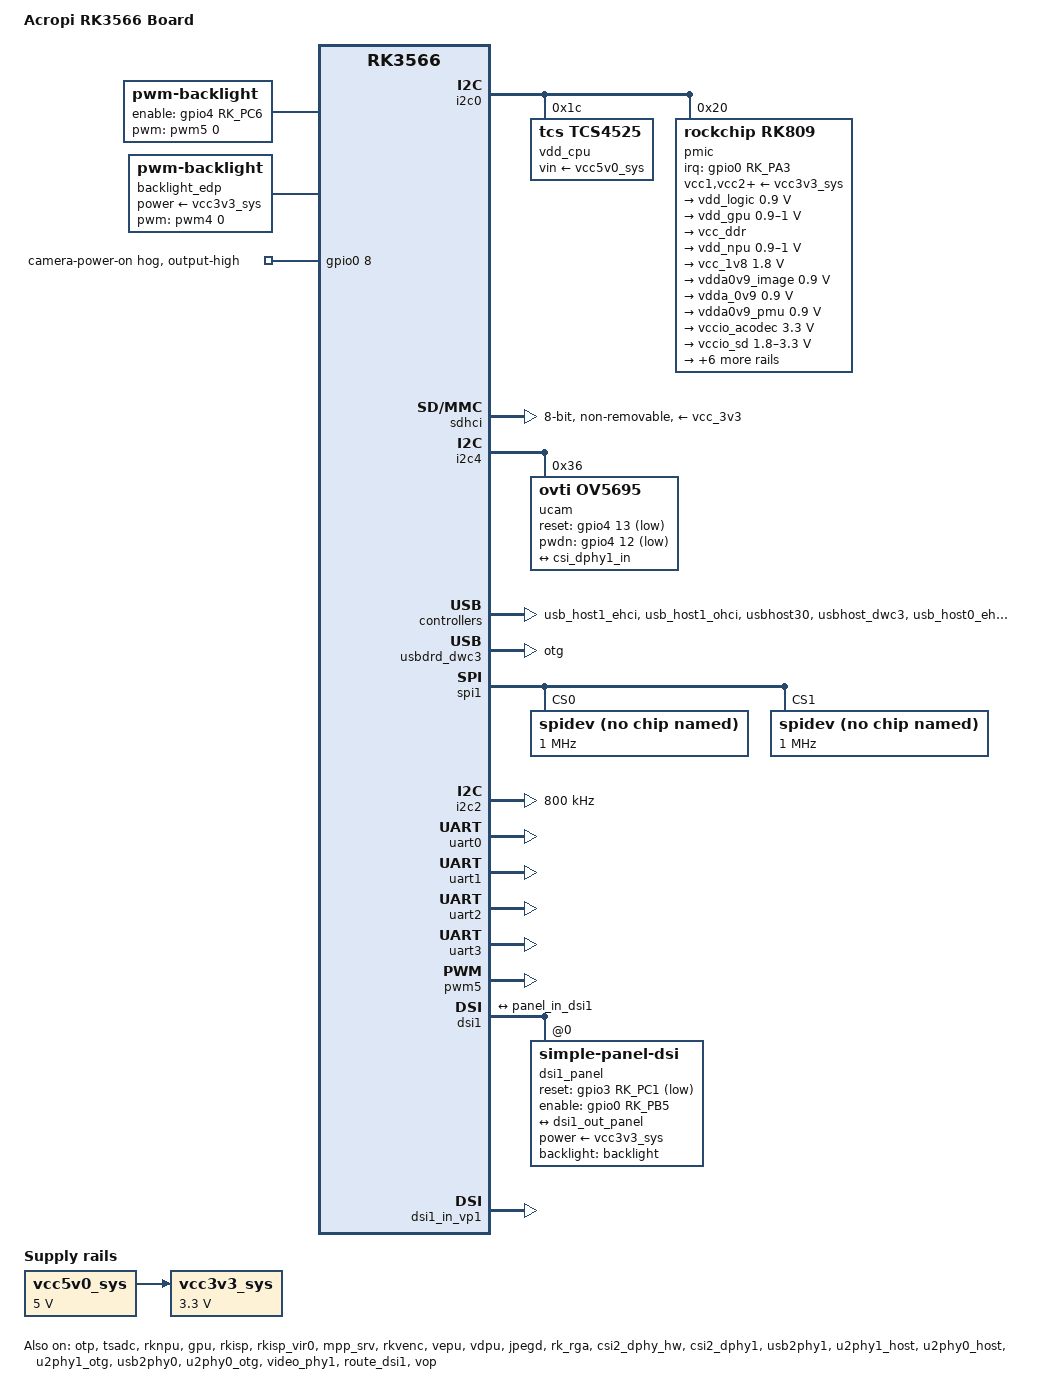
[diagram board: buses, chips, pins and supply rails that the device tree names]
// SPDX-License-Identifier: (GPL-2.0+ OR MIT)
/*
 * Standardized DTS for Acropi RK3566 - Binning Compliant
 */

/dts-v1/;

#include <dt-bindings/interrupt-controller/arm-gic.h>
#include <dt-bindings/clock/rk3568-cru.h>
#include <dt-bindings/power/rk3568-power.h>
#include <dt-bindings/gpio/gpio.h>
#include <dt-bindings/pinctrl/rockchip.h>
#include <dt-bindings/display/drm_mipi_dsi.h>
#include "rk3566.dtsi"


/ {
	model = "Acropi RK3566 Board";
	compatible = "rockchip,rk3566-acropi", "rockchip,rk3566";

	backlight: backlight {
		compatible = "pwm-backlight";
		pwms = <&pwm5 0 25000 0>; // PWM5, 周期 25000ns (40kHz)

		/* 如果电路中有背光 IC 的 Enable 脚，必须配置这行 */
		enable-gpios = <&gpio4 RK_PC6 GPIO_ACTIVE_HIGH>;

		brightness-levels = <
			  0  20  20  21  21  22  22  23
			 23  24  24  25  25  26  26  27
			 27  28  28  29  29  30  30  31
			 31  32  32  33  33  34  34  35
			 35  36  36  37  37  38  38  39
			 40  41  42  43  44  45  46  47
			 48  49  50  51  52  53  54  55
			 56  57  58  59  60  61  62  63
			 64  65  66  67  68  69  70  71
			 72  73  74  75  76  77  78  79
			 80  81  82  83  84  85  86  87
			 88  89  90  91  92  93  94  95
			 96  97  98  99 100 101 102 103
			104 105 106 107 108 109 110 111
			112 113 114 115 116 117 118 119
			120 121 122 123 124 125 126 127
			128 129 130 131 132 133 134 135
			136 137 138 139 140 141 142 143
			144 145 146 147 148 149 150 151
			152 153 154 155 156 157 158 159
			160 161 162 163 164 165 166 167
			168 169 170 171 172 173 174 175
			176 177 178 179 180 181 182 183
			184 185 186 187 188 189 190 191
			192 193 194 195 196 197 198 199
			200 201 202 203 204 205 206 207
			208 209 210 211 212 213 214 215
			216 217 218 219 220 221 222 223
			224 225 226 227 228 229 230 231
			232 233 234 235 236 237 238 239
			240 241 242 243 244 245 246 247
			248 249 250 251 252 253 254 255
		>;
		default-brightness-level = <255>;
		pinctrl-names = "default";
		pinctrl-0 = <&bl_en_gpio>;
	};

	backlight_edp: backlight-edp {
		compatible = "pwm-backlight";
		pwms = <&pwm4 0 25000 0>;
		brightness-levels = <0 4 8 12 16 20 24 28
				     32 36 40 44 48 52 56 60
				     64 68 72 76 80 84 88 92
				     96 100 104 108 112 116 120 124
				     128 132 136 140 144 148 152 156
				     160 164 168 172 176 180 184 188
				     192 196 200 204 208 212 216 220
				     224 228 232 236 240 244 248 252
				     255>;
		default-brightness-level = <50>;
		power-supply = <&vcc3v3_sys>;
	};

	panel_edp: panel-edp {
		status = "disabled";
		compatible = "simple-panel";
		backlight = <&backlight_edp>;
		power-supply = <&vcc3v3_sys>;
		enable-gpios = <&gpio0 RK_PA6 GPIO_ACTIVE_HIGH>;
		prepare-delay-ms = <120>;
		enable-delay-ms = <120>;
		pinctrl-names = "default";
		pinctrl-0 = <&edp_en_gpio>;
		connector-type = <14>; /* DRM_MODE_CONNECTOR_eDP */
		bpc = <8>;

		panel-timing {
			// clock-frequency = <150000000>;
			// hactive = <1920>;
			// vactive = <1080>;
			// hfront-porch = <48>;
			// hsync-len = <32>;
			// hback-porch = <200>;
			// vfront-porch = <3>;
			// vsync-len = <6>;
			// vback-porch = <51>;
			// hsync-active = <0>;
			// vsync-active = <0>;
			// de-active = <0>;
			// pixelclk-active = <0>;
			clock-frequency = <150000000>;
			hactive = <1920>;
			vactive = <1080>;
			hfront-porch = <48>;      /* Restore standard typical value */
			hsync-len = <32>;         /* Restore standard typical value */
			hback-porch = <200>;      /* Typical 200 pixels, providing ample sample preparation time for TCON */
			vfront-porch = <3>;       /* Keep at 3 */
			vsync-len = <6>;          /* Restore typical value 6 */
			vback-porch = <36>;       /* Set to 36, Vtotal = 1125, within specifications safety range 1112~1238 */
			hsync-active = <0>;
			vsync-active = <0>;
			de-active = <0>;          /* Fixed: DE signal active high */
			pixelclk-active = <0>;
		};

		port {
			panel_in_edp: endpoint {
				remote-endpoint = <&edp_out_panel>;
			};
		};
	};

	aliases {
		mmc0 = &sdhci;
		serial0 = &uart0;
		serial1 = &uart1;
		serial2 = &uart2;
		serial3 = &uart3;
	};

	chosen {
		stdout-path = "serial2:1500000n8";
	};

	reserved-memory {
		#address-cells = <2>;
		#size-cells = <2>;
		ranges;

		/* Dedicated default CMA pool for general devices like MPP, restricted to low physical memory (< 4GB) */
		default_cma: default-cma {
			compatible = "shared-dma-pool";
			reusable;
			linux,cma-default;
			size = <0x0 0x8000000>; /* 128 MB */
			alloc-ranges = <0x0 0x0 0x0 0xf0000000>; /* Restricted to under 3.75 GB */
		};

		/* Dedicated private CMA pool for ISP */
		isp_reserved: isp-reserved {
			compatible = "shared-dma-pool";
			reusable;
			size = <0x0 0x10000000>; /* 256 MB */
		};
	};

	vcc5v0_sys: vcc5v0-sys {
		compatible = "regulator-fixed";
		regulator-name = "vcc5v0_sys";
		regulator-always-on;
		regulator-boot-on;
		regulator-min-microvolt = <5000000>;
		regulator-max-microvolt = <5000000>;
	};

	vcc3v3_sys: vcc3v3-sys {
		compatible = "regulator-fixed";
		regulator-name = "vcc3v3_sys";
		regulator-always-on;
		regulator-boot-on;
		regulator-min-microvolt = <3300000>;
		regulator-max-microvolt = <3300000>;
		vin-supply = <&vcc5v0_sys>;
	};

	/* 1.8GHz Full Table (OTP Enabled) */
	cpu0_opp_table: opp-table-0 {
		compatible = "operating-points-v2";
		opp-shared;

		nvmem-cells = <&cpu_leakage>, <&core_pvtm>, <&mbist_vmin>, <&cpu_opp_info>,
			      <&specification_serial_number>, <&remark_spec_serial_number>;
		nvmem-cell-names = "leakage", "pvtm", "mbist-vmin", "opp-info",
				   "specification_serial_number", "remark_spec_serial_number";
		rockchip,supported-hw;

		opp-408000000 {
			opp-hz = /bits/ 64 <408000000>;
			opp-microvolt = <850000 850000 1180000>;
			clock-latency-ns = <40000>;
		};

		opp-600000000 {
			opp-hz = /bits/ 64 <600000000>;
			opp-microvolt = <850000 850000 1180000>;
			clock-latency-ns = <40000>;
		};

		opp-816000000 {
			opp-hz = /bits/ 64 <816000000>;
			opp-microvolt = <850000 850000 1180000>;
			clock-latency-ns = <40000>;
		};

		opp-1104000000 {
			opp-hz = /bits/ 64 <1104000000>;
			opp-microvolt = <900000 900000 1180000>;
			clock-latency-ns = <40000>;
		};

		opp-1416000000 {
			opp-hz = /bits/ 64 <1416000000>;
			opp-microvolt = <1025000 1025000 1180000>;
			clock-latency-ns = <40000>;
		};

		opp-1608000000 {
			opp-hz = /bits/ 64 <1608000000>;
			opp-microvolt = <1100000 1100000 1180000>;
			clock-latency-ns = <40000>;
		};

		opp-1800000000 {
			opp-hz = /bits/ 64 <1800000000>;
			opp-microvolt = <1150000 1150000 1180000>;
			clock-latency-ns = <40000>;
		};
	};
};

&power {
	power-domain@RK3568_PD_VPU {
		reg = <RK3568_PD_VPU>;
		clocks = <&cru HCLK_VPU_PRE>, <&cru ACLK_VPU_PRE>;
	};

	power-domain@RK3568_PD_RGA {
		reg = <RK3568_PD_RGA>;
		clocks = <&cru HCLK_RGA_PRE>, <&cru PCLK_RGA_PRE>, <&cru ACLK_RGA_PRE>;
	};

	power-domain@RK3568_PD_RKVDEC {
		reg = <RK3568_PD_RKVDEC>;
		clocks = <&cru HCLK_RKVDEC_PRE>, <&cru ACLK_RKVDEC_PRE>;
	};

	power-domain@RK3568_PD_RKVENC {
		reg = <RK3568_PD_RKVENC>;
		clocks = <&cru HCLK_RKVENC_PRE>, <&cru ACLK_RKVENC_PRE>;
	};
};

&i2c0 {
	status = "okay";
	pinctrl-names = "default";
	pinctrl-0 = <&i2c0_xfer>;
	u-boot,dm-spl;

	vdd_cpu: tcs4525@1c {
		compatible = "tcs,tcs4525";
		reg = <0x1c>;
		vin-supply = <&vcc5v0_sys>;
		regulator-compatible = "fan53555-reg";
		regulator-name = "vdd_cpu";
		regulator-min-microvolt = <712500>;
		regulator-max-microvolt = <1180000>;
		regulator-init-microvolt = <900000>;
		regulator-ramp-delay = <2300>;
		fcs,suspend-voltage-selector = <1>;
		regulator-boot-on;
		regulator-always-on;

		regulator-state-mem {
			regulator-off-in-suspend;
		};
	};

	pmic: pmic@20 {
		compatible = "rockchip,rk809";
		reg = <0x20>;
		u-boot,dm-spl;
		interrupt-parent = <&gpio0>;
		interrupts = <RK_PA3 IRQ_TYPE_LEVEL_LOW>;
		pinctrl-names = "default";
		pinctrl-0 = <&pmic_int_l>;
		rockchip,system-power-controller;
		wakeup-source;

		vcc1-supply = <&vcc3v3_sys>;
		vcc2-supply = <&vcc3v3_sys>;
		vcc3-supply = <&vcc3v3_sys>;
		vcc4-supply = <&vcc3v3_sys>;
		vcc5-supply = <&vcc3v3_sys>;
		vcc6-supply = <&vcc3v3_sys>;
		vcc7-supply = <&vcc3v3_sys>;
		vcc8-supply = <&vcc3v3_sys>;
		vcc9-supply = <&vcc3v3_sys>;

		regulators {
			vdd_logic: DCDC_REG1 {
				regulator-name = "vdd_logic";
				regulator-always-on;
				regulator-boot-on;
				regulator-min-microvolt = <900000>;
				regulator-max-microvolt = <900000>;
				regulator-ramp-delay = <6001>;
				regulator-initial-mode = <0x2>;

				regulator-state-mem {
					regulator-off-in-suspend;
				};
			};

			vdd_gpu: DCDC_REG2 {
				regulator-name = "vdd_gpu";
				regulator-always-on;
				regulator-boot-on;
				regulator-min-microvolt = <900000>;
				regulator-max-microvolt = <1000000>;
				regulator-ramp-delay = <6001>;
				regulator-initial-mode = <0x2>;

				regulator-state-mem {
					regulator-off-in-suspend;
				};
			};

			vcc_ddr: DCDC_REG3 {
				regulator-name = "vcc_ddr";
				regulator-always-on;
				regulator-boot-on;
				regulator-initial-mode = <0x2>;

				regulator-state-mem {
					regulator-on-in-suspend;
				};
			};

			vdd_npu: DCDC_REG4 {
				regulator-name = "vdd_npu";
				regulator-always-on;
				regulator-boot-on;
				regulator-min-microvolt = <900000>;
				regulator-max-microvolt = <1000000>;
				regulator-ramp-delay = <6001>;
				regulator-initial-mode = <0x2>;

				regulator-state-mem {
					regulator-off-in-suspend;
				};
			};

			vcc_1v8: DCDC_REG5 {
				regulator-name = "vcc_1v8";
				regulator-always-on;
				regulator-boot-on;
				regulator-min-microvolt = <1800000>;
				regulator-max-microvolt = <1800000>;

				regulator-state-mem {
					regulator-off-in-suspend;
				};
			};

			vdda0v9_image: LDO_REG1 {
				regulator-name = "vdda0v9_image";
				regulator-always-on;
				regulator-boot-on;
				regulator-min-microvolt = <900000>;
				regulator-max-microvolt = <900000>;

				regulator-state-mem {
					regulator-off-in-suspend;
				};
			};

			vdda_0v9: LDO_REG2 {
				regulator-name = "vdda_0v9";
				regulator-always-on;
				regulator-boot-on;
				regulator-min-microvolt = <900000>;
				regulator-max-microvolt = <900000>;

				regulator-state-mem {
					regulator-off-in-suspend;
				};
			};

			vdda0v9_pmu: LDO_REG3 {
				regulator-name = "vdda0v9_pmu";
				regulator-always-on;
				regulator-boot-on;
				regulator-min-microvolt = <900000>;
				regulator-max-microvolt = <900000>;

				regulator-state-mem {
					regulator-on-in-suspend;
					regulator-suspend-microvolt = <900000>;
				};
			};

			vccio_acodec: LDO_REG4 {
				regulator-name = "vccio_acodec";
				regulator-always-on;
				regulator-boot-on;
				regulator-min-microvolt = <3300000>;
				regulator-max-microvolt = <3300000>;

				regulator-state-mem {
					regulator-off-in-suspend;
				};
			};

			vccio_sd: LDO_REG5 {
				regulator-name = "vccio_sd";
				regulator-always-on;
				regulator-boot-on;
				regulator-min-microvolt = <1800000>;
				regulator-max-microvolt = <3300000>;

				regulator-state-mem {
					regulator-off-in-suspend;
				};
			};

			vcc3v3_pmu: LDO_REG6 {
				regulator-name = "vcc3v3_pmu";
				regulator-always-on;
				regulator-boot-on;
				regulator-min-microvolt = <3300000>;
				regulator-max-microvolt = <3300000>;

				regulator-state-mem {
					regulator-on-in-suspend;
					regulator-suspend-microvolt = <3300000>;
				};
			};

			vcca_1v8: LDO_REG7 {
				regulator-name = "vcca_1v8";
				regulator-always-on;
				regulator-boot-on;
				regulator-min-microvolt = <1800000>;
				regulator-max-microvolt = <1800000>;

				regulator-state-mem {
					regulator-off-in-suspend;
				};
			};

			vcca1v8_pmu: LDO_REG8 {
				regulator-name = "vcca1v8_pmu";
				regulator-always-on;
				regulator-boot-on;
				regulator-min-microvolt = <1800000>;
				regulator-max-microvolt = <1800000>;

				regulator-state-mem {
					regulator-on-in-suspend;
					regulator-suspend-microvolt = <1800000>;
				};
			};

			vcca1v8_image: LDO_REG9 {
				regulator-name = "vcca1v8_image";
				regulator-always-on;
				regulator-boot-on;
				regulator-min-microvolt = <1800000>;
				regulator-max-microvolt = <1800000>;

				regulator-state-mem {
					regulator-off-in-suspend;
				};
			};

			vcc_3v3: SWITCH_REG1 {
				regulator-name = "vcc_3v3";
				regulator-always-on;
				regulator-boot-on;

				regulator-state-mem {
					regulator-off-in-suspend;
				};
			};

			vcc3v3_sd: SWITCH_REG2 {
				regulator-name = "vcc3v3_sd";
				regulator-always-on;
				regulator-boot-on;

				regulator-state-mem {
					regulator-off-in-suspend;
				};
			};
		};
	};
};

&otp {
	status = "okay";
};

&pinctrl {
	pmic {
		pmic_int_l: pmic-int-l {
			rockchip,pins = <0 RK_PA3 RK_FUNC_GPIO &pcfg_pull_up>;
		};
	};

	camera {
		ucam_pins: ucam-pins {
			rockchip,pins = <4 RK_PB4 RK_FUNC_GPIO &pcfg_pull_none>,
					<4 RK_PB5 RK_FUNC_GPIO &pcfg_pull_none>;
		};
	};

	edp {
		edp_en_gpio: edp-en-gpio {
			rockchip,pins = <0 RK_PA6 RK_FUNC_GPIO &pcfg_pull_none>;
		};
	};

	lcd {
		lcd0_rst_gpio: lcd0-rst-gpio {
			rockchip,pins = <4 RK_PC5 RK_FUNC_GPIO &pcfg_pull_none>;
		};
	};

	dsi1 {
		/* Reset 管脚: GPIO3_C1 */
		dsi1_rst_gpio: dsi1-rst-gpio {
			rockchip,pins = <3 RK_PC1 RK_FUNC_GPIO &pcfg_pull_none>;
		};

		/* 屏幕电源/LCD使能管脚: GPIO0_B5 (按板卡实际填) */
		lcd_pwr_gpio: lcd-pwr-gpio {
			rockchip,pins = <0 RK_PB5 RK_FUNC_GPIO &pcfg_pull_none>;
		};
	};

	backlight_pins {
		/* 背光 Enable 脚: GPIO4_C6 */
		bl_en_gpio: bl-en-gpio {
			rockchip,pins = <4 RK_PC6 RK_FUNC_GPIO &pcfg_pull_none>;
		};
	};
};

&pmu_io_domains {
	status = "okay";
	pmuio2-supply = <&vcc3v3_pmu>;
	vccio1-supply = <&vcc_3v3>;
	vccio2-supply = <&vcc_1v8>;
	vccio3-supply = <&vccio_sd>;
	vccio4-supply = <&vcc_3v3>;
	vccio5-supply = <&vcc_3v3>;
	vccio6-supply = <&vcc_1v8>;
	vccio7-supply = <&vcc_3v3>;
};

&io_domains {
	status = "disabled";
};

&tsadc {
	status = "okay";
	rockchip,hw-tshut-mode = <1>;
	rockchip,hw-tshut-polarity = <0>;
};

&soc_thermal {
	trips {
		cpu_target: cpu-target {
			temperature = <85000>;
			hysteresis = <2000>;
			type = "passive";
		};
	};

	cooling-maps {
		map0 {
			trip = <&cpu_target>;
			cooling-device = <&cpu0 THERMAL_NO_LIMIT THERMAL_NO_LIMIT>,
					 <&cpu1 THERMAL_NO_LIMIT THERMAL_NO_LIMIT>,
					 <&cpu2 THERMAL_NO_LIMIT THERMAL_NO_LIMIT>,
					 <&cpu3 THERMAL_NO_LIMIT THERMAL_NO_LIMIT>;
		};
	};
};

&rknpu {
	clocks = <&cru CLK_NPU>, <&cru ACLK_NPU>, <&cru HCLK_NPU>;
	clock-names = "clk", "aclk", "hclk";
	rknpu-supply = <&vdd_npu>;
	interrupt-names = "npu_irq";
	status = "okay";
};

&gpu {
	mali-supply = <&vdd_gpu>;
	power-off-delay-ms = <200>;
	status = "okay";

	gpu_power_model: power-model {
		compatible = "arm,mali-simple-power-model";
		static-coefficient = <100000>;
		dynamic-coefficient = <953>;
		ts = <(-108890) 63610 (-1355) 20>;
		thermal-zone = "gpu-thermal";
	};
};

&sdhci {
	bus-width = <8>;
	max-frequency = <200000000>;
	non-removable;
	supports-emmc;
	no-1-8-v;
	vmmc-supply = <&vcc_3v3>;
	vqmmc-supply = <&vcc_1v8>;
	assigned-clocks = <&cru BCLK_EMMC>, <&cru TCLK_EMMC>, <&cru CCLK_EMMC>;
	assigned-clock-rates = <200000000>, <24000000>, <200000000>;
	pinctrl-names = "default";
	pinctrl-0 = <&emmc_bus8 &emmc_clk &emmc_cmd &emmc_datastrobe>;
	status = "okay";
};

&rkisp {
	status = "okay";
	memory-region = <&isp_reserved>;
};

&rkisp_mmu {
	status = "disabled";
};

&mipi_csi2_hw {
	status = "disabled";
};

&mipi_csi2 {
	status = "disabled";
};

&rkcif {
	status = "disabled";
};

&rkcif_mmu {
	status = "disabled";
};

&rkcif_mipi_lvds {
	status = "disabled";
};

&rkcif_mipi_lvds_sditf {
	status = "disabled";
};

&rkisp_vir0 {
	status = "okay";

	ports {
		#address-cells = <1>;
		#size-cells = <0>;

		port@0 {
			reg = <0>;
			#address-cells = <1>;
			#size-cells = <0>;

			isp_in: endpoint@0 {
				reg = <0>;
				remote-endpoint = <&csi_dphy1_out>;
			};
		};
	};
};

&mpp_srv {
	status = "okay";
	rockchip,grf = <&grf>;
	memory-region = <&isp_reserved>;
	power-domains = <&power RK3568_PD_VPU>;
};

&vpu {
	status = "disabled";
};

&rkvenc {
	// venc-supply = <&vdd_logic>;
	status = "okay";
};

&rkvenc_mmu {
	status = "okay";
};

&vepu {
	status = "okay";
};

&vepu_mmu {
	status = "okay";
};

&vdpu {
	status = "okay";
};

&vdpu_mmu {
	status = "okay";
};

&jpegd {
	status = "okay";
};

&jpegd_mmu {
	status = "okay";
};

&rk_rga {
	status = "okay";
};

&csi2_dphy_hw {
	status = "okay";
};

&csi2_dphy0 {
	status = "disabled";
};

&csi2_dphy1 {
	status = "okay";

	ports {
		#address-cells = <1>;
		#size-cells = <0>;

		port@0 {
			reg = <0>;
			#address-cells = <1>;
			#size-cells = <0>;

			csi_dphy1_in: endpoint@0 {
				reg = <0>;
				remote-endpoint = <&ucam_out>;
				data-lanes = <1 2>;
			};
		};

		port@1 {
			reg = <1>;
			#address-cells = <1>;
			#size-cells = <0>;

			csi_dphy1_out: endpoint@0 {
				reg = <0>;
				remote-endpoint = <&isp_in>;
			};
		};
	};
};

&i2c4 {
	status = "okay";
	pinctrl-names = "default";
	pinctrl-0 = <&i2c4m0_xfer>;

	ucam: camera@36 {
		compatible = "ovti,ov5695";
		reg = <0x36>;
		status = "okay";
		rockchip,camera-module-index = <0>;
		rockchip,camera-module-facing = "back";
		rockchip,camera-module-name = "TongJu";
		rockchip,camera-module-lens-name = "CHT842-MD";

		/* Polarity alignment with extracted.dts */
		reset-gpios = <&gpio4 13 1>; /* RK_PB5, ACTIVE_LOW */
		pwdn-gpios = <&gpio4 12 1>;  /* RK_PB4, ACTIVE_LOW */

		clocks = <&cru CLK_CIF_OUT>;
		clock-names = "xvclk";
		assigned-clocks = <&cru CLK_CIF_OUT>;
		assigned-clock-rates = <24000000>;
		power-domains = <&power RK3568_PD_VI>;
		pinctrl-names = "default";
		pinctrl-0 = <&cif_clk>; /* Use standard CIF clock pinctrl */

		port {
			ucam_out: endpoint {
				remote-endpoint = <&csi_dphy1_in>;
				data-lanes = <1 2>;
			};
		};
	};
};

&usb2phy1 {
	status = "okay";
};

&u2phy1_host {
	status = "okay";
};

&usb_host1_ehci {
	status = "okay";
};

&usb_host1_ohci {
	status = "okay";
};

&usbhost30 {
	status = "okay";
};

&usbhost_dwc3 {
	status = "okay";
};

&u2phy0_host {
	status = "okay";
};

&u2phy1_otg {
	status = "okay";
};

&usb_host0_ehci {
	status = "okay";
};

&usb_host0_ohci {
	status = "okay";
};

&usbdrd30 {
	status = "okay";
};

&usb2phy0 {
	status = "okay";
	phy-supply = <&vcc5v0_sys>;
};

&u2phy0_otg {
	status = "okay";
};

&usbdrd_dwc3 {
	status = "okay";
	dr_mode = "otg";
	maximum-speed = "high-speed";
	snps,dis_u2_susphy_quirk;
	snps,usb2-lpm-disable;
	snps,dis-u2-freeclk-exists-quirk;
	snps,dis_enblslpm_quirk;
	snps,dis-u1u2-quirk;
	snps,dis-del-phy-power-chg-quirk;
	snps,dis-tx-ipgap-linecheck-quirk;
	snps,dis_rxdet_inp3_quirk;
	snps,xhci-trb-ent-quirk;
};

&spi1 {
	status = "okay";
	pinctrl-names = "default", "high_speed";
	pinctrl-0 = <&spi1m0_cs0 &spi1m0_cs1 &spi1m0_pins>;
	pinctrl-1 = <&spi1m0_cs0 &spi1m0_cs1 &spi1m0_pins_hs>;
	dmas = <&dmac0 22>, <&dmac0 23>;
	dma-names = "tx", "rx";
	max-freq = <48000000>;

	spidev@0 {
		compatible = "rockchip,spidev";
		reg = <0>;
		spi-max-frequency = <1000000>;
	};

	spidev@1 {
		compatible = "rockchip,spidev";
		reg = <1>;
		spi-max-frequency = <1000000>;
	};
};

&spi3 {
	status = "disabled";
	pinctrl-names = "default", "high_speed";
	pinctrl-0 = <&spi3m1_cs0 &spi3m1_pins>;
	pinctrl-1 = <&spi3m1_cs0 &spi3m1_pins_hs>;
	dmas = <&dmac0 26>, <&dmac0 27>;
	dma-names = "tx", "rx";
	max-freq = <48000000>;

	spidev@0 {
		compatible = "rockchip,spidev";
		reg = <0>;
		spi-max-frequency = <1000000>;
	};
};

&i2c2 {
	status = "okay";
	pinctrl-names = "default";
	pinctrl-0 = <&i2c2m0_xfer>;
	clock-frequency = <800000>;
};

&cpu0 {
	device_type = "cpu";
	clocks = <&cru ARMCLK>;
	cpu-supply = <&vdd_cpu>;
	operating-points-v2 = <&cpu0_opp_table>;
	#cooling-cells = <2>;
	/delete-property/ cpu-idle-states;
};

&cpu1 {
	device_type = "cpu";
	clocks = <&cru ARMCLK>;
	cpu-supply = <&vdd_cpu>;
	operating-points-v2 = <&cpu0_opp_table>;
	#cooling-cells = <2>;
	/delete-property/ cpu-idle-states;
};

&cpu2 {
	device_type = "cpu";
	clocks = <&cru ARMCLK>;
	cpu-supply = <&vdd_cpu>;
	operating-points-v2 = <&cpu0_opp_table>;
	#cooling-cells = <2>;
	/delete-property/ cpu-idle-states;
};

&cpu3 {
	device_type = "cpu";
	clocks = <&cru ARMCLK>;
	cpu-supply = <&vdd_cpu>;
	operating-points-v2 = <&cpu0_opp_table>;
	#cooling-cells = <2>;
	/delete-property/ cpu-idle-states;
};

&uart0 {
	status = "okay";
	pinctrl-names = "default";
	pinctrl-0 = <&uart0_xfer>;
	dmas = <&dmac0 0>, <&dmac0 1>;
	dma-names = "tx", "rx";
};

&uart1 {
	status = "okay";
	pinctrl-names = "default";
	pinctrl-0 = <&uart1m0_xfer>;
	dmas = <&dmac0 2>, <&dmac0 3>;
	dma-names = "tx", "rx";
};

&uart2 {
	status = "okay";
	pinctrl-names = "default";
	pinctrl-0 = <&uart2m0_xfer>;
};

&uart3 {
	status = "okay";
	pinctrl-names = "default";
	pinctrl-0 = <&uart3m1_xfer>;
	dmas = <&dmac0 6>, <&dmac0 7>;
	dma-names = "tx", "rx";
};

&pwm4 {
	status = "disabled";
};

&pwm5 {
	status = "okay";
};

&edp {
	force-hpd;
	status = "disabled";

	ports {
		port@1 {
			reg = <1>;

			edp_out_panel: endpoint {
				remote-endpoint = <&panel_in_edp>;
			};
		};
	};
};

&edp_phy {
	status = "disabled";
};

&edp_in_vp0 {
	status = "disabled";
};

&edp_in_vp1 {
	status = "disabled";
};

&route_edp {
	connect = <&vp0_out_edp>;
	status = "disabled";
};

&hdmi {
	status = "disabled";
};

&route_hdmi {
	status = "disabled";
};

&dsi0 {
	status = "disabled";
};

&video_phy0 {
	status = "disabled";
};

&dsi0_in_vp0 {
	status = "disabled";
};

&route_dsi0 {
	status = "disabled";
};

&dsi1 {
	status = "okay";
	rockchip,lane-rate = <480>;

	dsi1_panel: panel@0 {
		status = "okay";
		compatible = "simple-panel-dsi";
		reg = <0>;
		bpc = <8>;
		power-supply = <&vcc3v3_sys>;

		/* GPIO 关联 */
		reset-gpios = <&gpio3 RK_PC1 GPIO_ACTIVE_LOW>;   // 屏幕 Reset
		enable-gpios = <&gpio0 RK_PB5 GPIO_ACTIVE_HIGH>;  // 屏幕 Power/Enable (可选)

		pinctrl-names = "default";
		pinctrl-0 = <&dsi1_rst_gpio &lcd_pwr_gpio>;

		/* 关联背光节点 */
		backlight = <&backlight>;

		/* U-Boot 留空时，内核冷启动必须配足的关键延时 */
		reset-delay-ms = <10>;    // Reset 脚保持低电平时间 >= 10ms
		enable-delay-ms = <120>;  // 上电/Reset 拉高后面板内部芯片准备时间 >= 120ms
		init-delay-ms = <120>;    // 新增：复位拉高后至发送初始化序列前的延时
		prepare-delay-ms = <20>;  // 发送 init-sequence 之前的延迟
		unprepare-delay-ms = <20>;
		disable-delay-ms = <50>;

		/* DSI 传输模式 */
		dsi,flags = <(MIPI_DSI_MODE_VIDEO | MIPI_DSI_MODE_VIDEO_BURST |
			MIPI_DSI_MODE_LPM | MIPI_DSI_MODE_NO_EOT_PACKET)>;
		dsi,format = <MIPI_DSI_FMT_RGB888>;
		dsi,lanes  = <4>;

		/* 初始化指令序列... (保持之前的 panel-init-sequence) */
		panel-init-sequence = [
			39 00 04 FF 98 81 03
			15 00 02 01 00
			15 00 02 02 00
			15 00 02 03 73
			15 00 02 04 13
			15 00 02 05 00
			15 00 02 06 0A
			15 00 02 07 05
			15 00 02 08 00
			15 00 02 09 28
			15 00 02 0A 00
			15 00 02 0B 00
			15 00 02 0C 00
			15 00 02 0D 28
			15 00 02 0E 00
			15 00 02 0F 28
			15 00 02 10 28
			05 00 01 11
			15 00 02 12 00
			15 00 02 13 00
			15 00 02 14 00
			15 00 02 15 00
			15 00 02 16 00
			15 00 02 17 00
			15 00 02 18 00
			15 00 02 19 00
			15 00 02 1A 00
			15 00 02 1B 00
			15 00 02 1C 00
			15 00 02 1D 00
			15 00 02 1E 40
			15 00 02 1F 80
			15 00 02 20 06
			15 00 02 21 01
			15 00 02 22 00
			15 00 02 23 00
			15 00 02 24 00
			15 00 02 25 00
			15 00 02 26 00
			15 00 02 27 00
			15 00 02 28 33
			15 00 02 29 33
			15 00 02 2A 00
			15 00 02 2B 00
			15 00 02 2C 04
			15 00 02 2D 04
			15 00 02 2E 05
			15 00 02 2F 05
			15 00 02 30 00
			15 00 02 31 00
			15 00 02 32 31
			15 00 02 33 00
			15 00 02 34 00
			15 00 02 35 0A
			15 00 02 36 00
			15 00 02 37 08
			15 00 02 38 00
			15 00 02 39 00
			15 00 02 3A 00
			15 00 02 3B 00
			15 00 02 3C 00
			15 00 02 3D 00
			15 00 02 3E 00
			15 00 02 3F 00
			15 00 02 40 00
			15 00 02 41 00
			15 00 02 42 00
			15 00 02 43 08
			15 00 02 44 00
			15 00 02 50 01
			15 00 02 51 23
			15 00 02 52 44
			15 00 02 53 67
			15 00 02 54 89
			15 00 02 55 AB
			15 00 02 56 01
			15 00 02 57 23
			15 00 02 58 45
			15 00 02 59 67
			15 00 02 5A 89
			15 00 02 5B AB
			15 00 02 5C CD
			15 00 02 5D EF
			15 00 02 5E 11
			15 00 02 5F 02
			15 00 02 60 08
			15 00 02 61 0E
			15 00 02 62 0F
			15 00 02 63 0C
			15 00 02 64 0D
			15 00 02 65 17
			15 00 02 66 01
			15 00 02 67 01
			15 00 02 68 02
			15 00 02 69 02
			15 00 02 6A 00
			15 00 02 6B 00
			15 00 02 6C 02
			15 00 02 6D 02
			15 00 02 6E 16
			15 00 02 6F 16
			15 00 02 70 06
			15 00 02 71 06
			15 00 02 72 07
			15 00 02 73 07
			15 00 02 74 02
			15 00 02 75 02
			15 00 02 76 08
			15 00 02 77 0E
			15 00 02 78 0F
			15 00 02 79 0C
			15 00 02 7A 0D
			15 00 02 7B 17
			15 00 02 7C 01
			15 00 02 7D 01
			15 00 02 7E 02
			15 00 02 7F 02
			15 00 02 80 00
			15 00 02 81 00
			15 00 02 82 02
			15 00 02 83 02
			15 00 02 84 16
			15 00 02 85 16
			15 00 02 86 06
			15 00 02 87 06
			15 00 02 88 07
			15 00 02 89 07
			15 00 02 8A 02
			39 00 04 FF 98 81 04
			15 00 02 6E 1A
			15 00 02 6F 37
			15 00 02 3A A4
			15 00 02 8D 1F
			15 00 02 87 BA
			15 00 02 B2 D1
			15 00 02 88 0B
			15 00 02 38 01
			15 00 02 39 00
			15 00 02 B5 02
			15 00 02 31 25
			15 00 02 3B 98
			39 00 04 FF 98 81 01
			15 00 02 22 0A
			15 00 02 31 00
			15 00 02 53 53
			15 00 02 55 3D
			15 00 02 50 9E
			15 00 02 51 99
			15 00 02 60 06
			15 00 02 62 20
			15 00 02 A0 00
			15 00 02 A1 17
			15 00 02 A2 26
			15 00 02 A3 13
			15 00 02 A4 16
			15 00 02 A5 29
			15 00 02 A6 1E
			15 00 02 A7 1F
			15 00 02 A8 8B
			15 00 02 A9 1D
			15 00 02 AA 2A
			15 00 02 AB 7B
			15 00 02 AC 1A
			15 00 02 AD 19
			15 00 02 AE 4E
			15 00 02 AF 24
			15 00 02 B0 29
			15 00 02 B1 4F
			15 00 02 B2 5C
			15 00 02 B3 3E
			15 00 02 C0 00
			15 00 02 C1 17
			15 00 02 C2 26
			15 00 02 C3 13
			15 00 02 C4 16
			15 00 02 C5 29
			15 00 02 C6 1E
			15 00 02 C7 1F
			15 00 02 C8 8B
			15 00 02 C9 1D
			15 00 02 CA 2A
			15 00 02 CB 7B
			15 00 02 CC 1A
			15 00 02 CD 19
			15 00 02 CE 4E
			15 00 02 CF 24
			15 00 02 D0 29
			15 00 02 D1 4F
			15 00 02 D2 5C
			15 00 02 D3 3E
			39 00 04 FF 98 81 00
			05 78 01 11
			05 00 01 29
			15 00 02 35 00
		];

		panel-exit-sequence = [
			05 00 01 28
			05 00 01 10
		];

		disp_timings1: display-timings {
			native-mode = <&dsi1_timing0>;
			dsi1_timing0: timing0 {
				clock-frequency = <66000000>;
				hactive = <800>;
				vactive = <1280>;
				hfront-porch = <18>;
				hsync-len = <12>;
				hback-porch = <18>;
				vfront-porch = <24>;
				vsync-len = <4>;
				vback-porch = <12>;
				hsync-active = <0>;
				vsync-active = <0>;
				de-active = <0>;
				pixelclk-active = <1>;
			};
		};

		ports {
			#address-cells = <1>;
			#size-cells = <0>;

			port@0 {
				reg = <0>;
				panel_in_dsi1: endpoint {
					remote-endpoint = <&dsi1_out_panel>;
				};
			};
		};
	};

	ports {
		#address-cells = <1>;
		#size-cells = <0>;

		port@1 {
			reg = <1>;
			dsi1_out_panel: endpoint {
				remote-endpoint = <&panel_in_dsi1>;
			};
		};
	};
};

&video_phy1 {
	status = "okay";
};

&dsi1_in_vp1 {
	status = "okay";
};

&route_dsi1 {
	connect = <&vp1_out_dsi1>;
	status = "okay";
};

&vop {
	assigned-clocks = <&cru DCLK_VOP0>, <&cru DCLK_VOP1>;
	assigned-clock-parents = <&cru PLL_GPLL>, <&cru PLL_VPLL>;
	status = "okay";
};

&vop_mmu {
	status = "okay";
};

&gpio0 {
	camera-power-hog {
		gpio-hog;
		gpios = <8 0>; /* GPIO0_B0 (RK_PB0) */
		output-high;
		line-name = "camera-power-on";
	};
};


